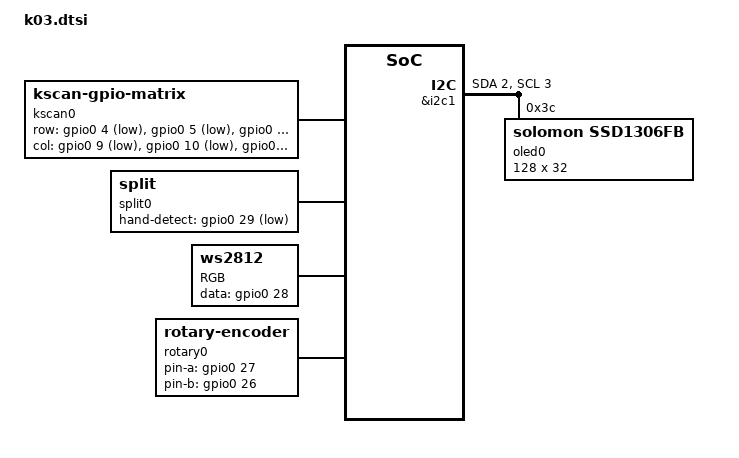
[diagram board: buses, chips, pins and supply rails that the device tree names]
/dts-v1/;
/ {
    chosen {
        zmk,kscan = &kscan0;
    };

    /* ================= Matrix 5x6 ================= */
    kscan0: kscan {
        compatible = "zmk,kscan-gpio-matrix";
        diode-direction = "col2row";

        row-gpios = <&gpio0 4 GPIO_ACTIVE_LOW>,
                    <&gpio0 5 GPIO_ACTIVE_LOW>,
                    <&gpio0 6 GPIO_ACTIVE_LOW>,
                    <&gpio0 7 GPIO_ACTIVE_LOW>,
                    <&gpio0 8 GPIO_ACTIVE_LOW>;

        col-gpios = <&gpio0  9 GPIO_ACTIVE_LOW>,
                    <&gpio0 10 GPIO_ACTIVE_LOW>,
                    <&gpio0 11 GPIO_ACTIVE_LOW>,
                    <&gpio0 12 GPIO_ACTIVE_LOW>,
                    <&gpio0 13 GPIO_ACTIVE_LOW>,
                    <&gpio0 14 GPIO_ACTIVE_LOW>;
    };

    /* ================= Split ================= */
    split0: split {
        compatible = "zmk,split";
        split-role = "central"; /* при прошивке можно выбрать right */
        hand-detect-gpios = <&gpio0 29 GPIO_ACTIVE_LOW>;

        uart {
            tx-pin = <0>;
            rx-pin = <1>;
        };
    };

    /* ================= OLED ================= */
    &i2c1 {
        status = "okay";
        scl-pin = <3>;
        sda-pin = <2>;

        oled0: ssd1306@3c {
            compatible = "solomon,ssd1306fb";
            reg = <0x3c>;
            width = <128>;
            height = <32>;
        };
    };

    /* ================= RGB ================= */
    ws2812: rgb {
        compatible = "zmk,ws2812";
        label = "RGB";
        chain-length = <2>;
        data-gpios = <&gpio0 28 GPIO_ACTIVE_HIGH>;
        spi-max-frequency = <4000000>;
    };

    /* ================= Encoder ================= */
    rotary0: encoder {
        compatible = "zmk,rotary-encoder";
        pin-a = <&gpio0 27 GPIO_ACTIVE_HIGH>;
        pin-b = <&gpio0 26 GPIO_ACTIVE_HIGH>;
        resolution = <4>;
    };
};

